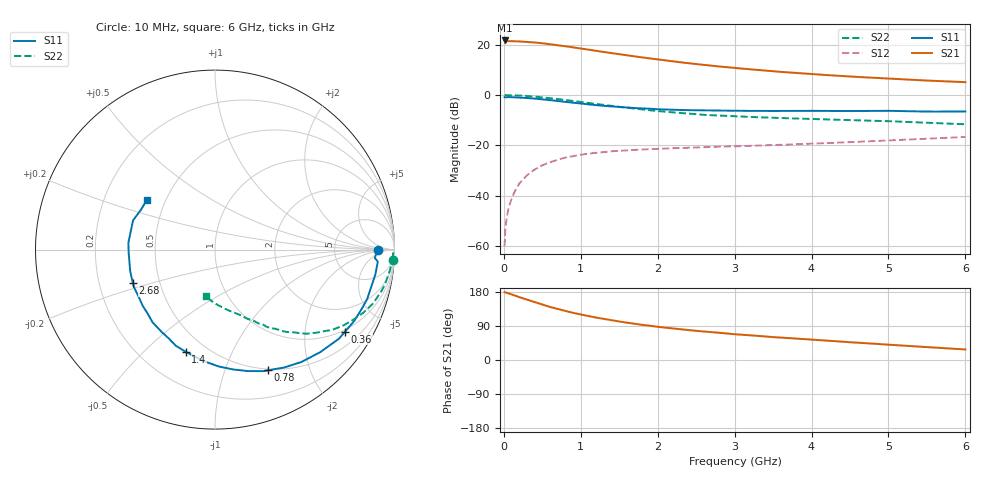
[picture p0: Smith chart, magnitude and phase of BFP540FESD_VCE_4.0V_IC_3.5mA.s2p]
! Infineon Technologies  Discrete & RF Semiconductors
! BFP540FESD
! VCE =  4.0 V,  IC =  3.5 mA
! Common Emitter S-Parameters:  Nov 2015
# GHz  S  MA  R  50
!  f  S11  S21  S12  S22
! GHz  MAG  ANG  MAG  ANG  MAG  ANG  MAG  ANG
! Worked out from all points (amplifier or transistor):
!   210 points, 10 MHz to 6 GHz, reference 50 ohm
!   highest |S21| = 21.6 dB at 10 MHz (marker M1)
!   |S21| within 3 dB of that: start of sweep to 955.2 MHz
!   unconditionally stable (mu >= 1): 3.026 GHz to end of sweep
!   at 185 MHz: K = 0.08, MSG = 28.6 dB, |S12| = -36.0 dB
!   at 1.52 GHz: K = 0.51, MSG = 19.1 dB, |S12| = -22.1 dB
!   at 6 GHz: K = 1.39, MAG = 7.2 dB, |S12| = -16.7 dB
!   S11 on the Smith chart (normalised r, x): 10 MHz: 21, -0; 360 MHz: 0.94, -3.21; 780 MHz: 0.48, -1.42; 1.4 GHz: 0.39, -0.68; 2.68 GHz: 0.35, -0.17; 6 GHz: 0.39, +0.28
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0.01  0.9071 -0.1  12.05 178.8  0.001 52.8  0.9906 -3.3
0.02  0.8914 -3.0  11.64 178.6  0.0022 79.1  0.9928 -1.1
0.05  0.9094 -4.2  11.72 176.6  0.0047 79.2  0.9866 -2.5
0.095  0.9047 -8.2  11.69 173.5  0.0082 83.0  0.9861 -4.7
0.15  0.894 -14.2  11.68 169.8  0.0128 79.3  0.9795 -7.3
0.2  0.8915 -18.0  11.53 165.9  0.0173 79.5  0.9715 -9.8
0.36  0.8567 -32.2  11.1 155.3  0.0299 71.8  0.9381 -17.2
0.5  0.8189 -44.2  10.64 146.2  0.0402 66.5  0.8971 -23.2
0.6  0.7896 -52.5  10.14 140.0  0.0463 62.4  0.8629 -27.0
0.78  0.7347 -66.3  9.345 130.5  0.0562 56.3  0.8004 -33.5
0.9  0.701 -74.9  8.787 124.4  0.0608 53.0  0.7582 -36.9
1.02  0.6697 -82.7  8.254 119.3  0.0659 50.0  0.7194 -40.2
1.2  0.6273 -94.8  7.488 111.9  0.0711 46.0  0.6618 -44.7
1.4  0.5925 -105.9  6.772 104.9  0.0764 42.3  0.606 -49.2
1.72  0.5469 -122.8  5.782 95.0  0.0817 38.5  0.5304 -55.1
2.02  0.5184 -136.2  5.038 87.1  0.0855 35.8  0.4765 -59.5
2.4  0.4987 -149.8  4.26 78.9  0.0896 33.7  0.4285 -64.5
2.68  0.4944 -157.7  3.834 73.9  0.0927 33.1  0.3973 -68.2
3.1  0.4846 -168.2  3.328 66.7  0.0967 32.3  0.3707 -72.3
4.1  0.4826 173.8  2.536 52.4  0.1096 32.7  0.3301 -81.4
5.1  0.4806 158.6  2.076 39.1  0.1274 31.3  0.2973 -90.6
6  0.47 143.9  1.794 27.8  0.1468 29.0  0.2622 -100.5
